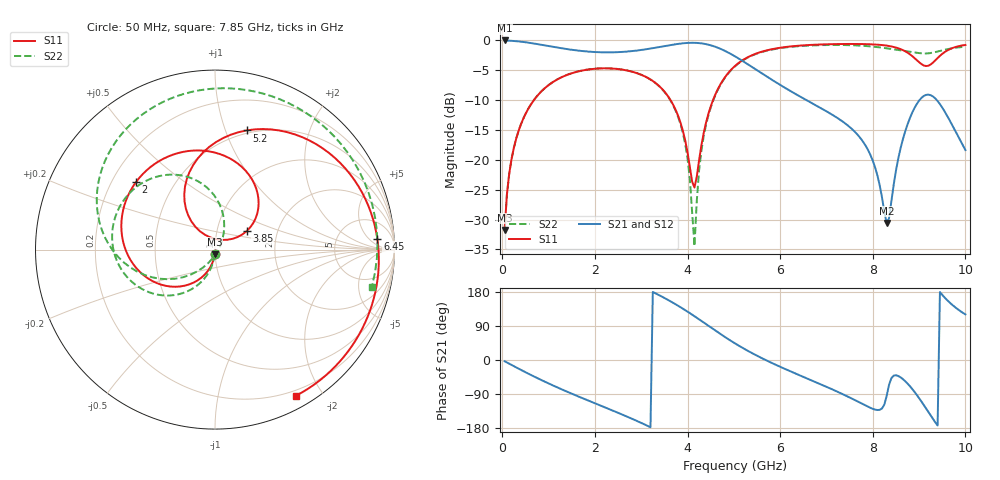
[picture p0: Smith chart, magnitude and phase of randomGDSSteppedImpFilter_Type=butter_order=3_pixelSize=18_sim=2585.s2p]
! freq	dB(S11)	phase(S11)	dB(S12)	phase(S12)
!  dB(S21)	phase(S21)	dB(S22)	phase(S22)
!S-par simulation data
#  GHz  S  DB  R 50
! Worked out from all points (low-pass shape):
!   200 points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, 50 MHz to 10 GHz, reference 50 ohm
!   highest |S21| = -0.01 dB at 50 MHz (marker M1); lowest = -30.6 dB at 8.3 GHz (marker M2)
!   |S21| within 3 dB of the highest: start of sweep to 5.098 GHz
!   lowest |S11| = -31.8 dB at 50 MHz (marker M3), VSWR 1.05, Z = 49.8 - j2.56 ohm
!   |S11| at or under -10 dB: start of sweep to 683 MHz; 3.632 GHz to 4.55 GHz (917.5 MHz wide, 22.4 % of centre)
!   |S22| runs from -34.5 to -0.8 dB; largest |S21 - S12| = 0
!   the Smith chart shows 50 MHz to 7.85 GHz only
!   S11 on the Smith chart (normalised r, x): 50 MHz: 1.00, -0.05; 2 GHz: 0.30, +0.34; 3.85 GHz: 1.39, +0.30; 5.2 GHz: 0.47, +1.19; 6.45 GHz: 14, +9; 7.85 GHz: 0.14, -1.68
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0.05  -31.77 -93.8  -0.01 -3.3  -0.01 -3.3  -31.75 -93.0
0.2  -19.86 -105.0  -0.07 -13.1  -0.07 -13.1  -19.85 -101.9
0.5  -12.34 -126.6  -0.31 -32.2  -0.31 -32.2  -12.32 -118.8
1.75  -5.01 154.1  -1.80 -101.7  -1.80 -101.7  -5.00 -178.4
2  -4.75 139.6  -1.95 -114.2  -1.95 -114.2  -4.73 171.1
3.4  -7.74 56.0  -1.10 170.2  -1.10 170.2  -7.77 106.6
3.85  -13.82 30.3  -0.53 139.2  -0.53 139.2  -14.09 76.7
4.15  -24.64 84.3  -0.40 115.5  -0.40 115.5  -34.46 -42.8
4.25  -20.03 124.2  -0.45 107.2  -0.45 107.2  -21.73 -116.1
4.4  -13.76 130.0  -0.62 94.6  -0.62 94.6  -14.12 -134.5
5.05  -4.11 85.9  -2.78 42.0  -2.78 42.0  -4.17 173.4
5.2  -3.26 75.2  -3.50 31.2  -3.50 31.2  -3.32 163.1
6.45  -0.85 3.8  -9.49 -41.9  -9.49 -41.9  -0.94 90.1
6.7  -0.74 -7.9  -10.57 -54.9  -10.57 -54.9  -0.84 75.6
7.3  -0.60 -35.0  -13.32 -87.2  -13.32 -87.2  -0.77 35.9
7.85  -0.62 -61.2  -17.69 -120.4  -17.69 -120.4  -0.94 -13.4
8.3  -0.87 -88.9  -30.57 -94.8  -30.57 -94.8  -1.32 -71.1
8.35  -0.93 -92.7  -29.83 -66.1  -29.83 -66.1  -1.37 -78.6
8.9  -2.94 -164.7  -11.33 -83.8  -11.33 -83.8  -2.02 -166.6
9.25  -4.03 89.0  -9.17 -146.7  -9.17 -146.7  -2.11 148.7
9.55  -1.97 14.6  -11.88 165.1  -11.88 165.1  -1.57 117.8
10  -0.76 -35.6  -18.37 120.4  -18.37 120.4  -1.05 78.9
